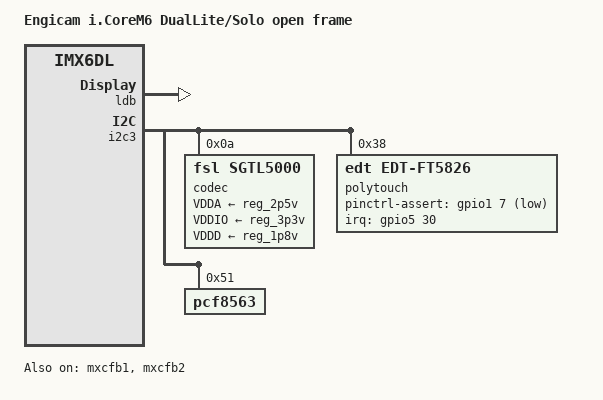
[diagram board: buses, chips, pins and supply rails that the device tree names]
/*
 * Copyright (C) 2013 Freescale Semiconductor, Inc.
 *
 * This program is free software; you can redistribute it and/or modify
 * it under the terms of the GNU General Public License version 2 as
 * published by the Free Software Foundation.
 */

/dts-v1/;

#include "imx6dl.dtsi"
#include "imx6qdl-icore.dtsi"
 
/ {
	model = "Engicam i.CoreM6 DualLite/Solo open frame";
	compatible = "fsl,imx6-icore", "fsl,imx6dl";
};

&mxcfb1 {
	compatible = "fsl,mxc_sdc_fb";
	disp_dev = "ldb";
	interface_pix_fmt = "RGB24";
	mode_str ="Amp-WD";
	default_bpp = <32>;
	int_clk = <0>;
	late_init = <0>;
	status = "okay";
};

&mxcfb2 {
	status = "okay";
};

&ldb {
	status = "okay";

	lvds-channel@0 {
		fsl,data-mapping = "spwg";
		fsl,data-width = <24>;
		status = "okay";
		crtc = "ipu1-di0";
		primary;

		display-timings {
                        native-mode = <&timing1>;
                        timing1: hsd100pxn1 {
                                clock-frequency = <70000000>;
                                hactive = <1280>;
                                vactive = <800>;
                                hback-porch = <40>;
                                hfront-porch = <40>;
                                vback-porch = <10>;
                                vfront-porch = <3>;
                                hsync-len = <80>;
                                vsync-len = <10>;
                        };
                };
	};
};

&i2c3 {

	codec: sgtl5000@0a {
		compatible = "fsl,sgtl5000";
		reg = <0x0a>;
		clocks = <&clks 201>;
		VDDA-supply = <&reg_2p5v>;
		VDDIO-supply = <&reg_3p3v>;
		VDDD-supply = <&reg_1p8v>;
	};

	polytouch: edt-ft5x06@38 {
		compatible = "edt,edt-ft5826";
		reg = <0x38>;
		pinctrl-names = "default";		
		pinctrl-0 = <&pinctrl_edt_ft5x06>;
		interrupt-parent = <&gpio5>;
		interrupts = <30 0>;
		pinctrl-assert-gpios = <&gpio1 7 GPIO_ACTIVE_LOW>;
	};
	
	pcf8563: rtc@51 {
		compatible = "pcf8563";
		reg = <0x51>;
	};
};

&iomuxc {
	touchpanel{
		pinctrl_edt_ft5x06:  edt-ft5x06grp  {
			fsl,pins = <
				MX6QDL_PAD_CSI0_DAT12__GPIO5_IO30 0x1b0b0 /*interrupt*/ 
				MX6QDL_PAD_GPIO_7__GPIO1_IO07  0x1b0b0 /*reset edt*/
			>;
		};
	};
	
	hog {
		pinctrl_hog: hoggrp {
			fsl,pins = <
				MX6QDL_PAD_GPIO_2__GPIO1_IO02 0x1f059
				MX6QDL_PAD_EIM_D19__GPIO3_IO19 0x1f059 /* not used pin for ADV7180 driver compatibility */
			>;
		};
	};
};
